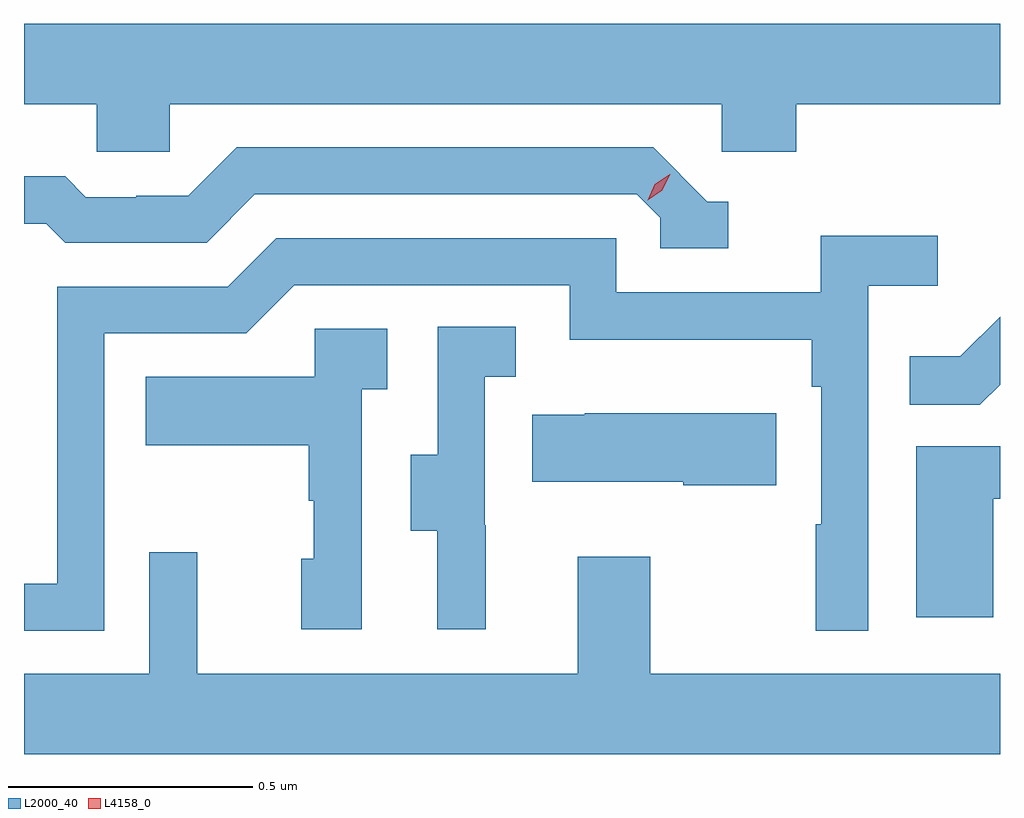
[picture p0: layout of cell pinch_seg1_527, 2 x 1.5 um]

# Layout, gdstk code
import gdstk
lib = gdstk.Library(unit=1e-6, precision=1e-09)
def P(c, l, *ps):  # polygons
    for p in ps: c.add(gdstk.Polygon(p, *l))
L2000_40 = (2000, 40)
L4158_0 = (4158, 0)

pinch_seg1_527 = lib.new_cell('pinch_seg1_527')
P(pinch_seg1_527, L2000_40, [(1029.615,525.092),(1030.746,525.092),(1030.746,524.994),(1030.898,524.994),(1030.898,525.092),(1031.316,525.092),(1031.316,525.256),(1029.316,525.256),(1029.316,525.092),(1029.465,525.092),(1029.465,524.994),(1029.615,524.994)],
  [(1030.759,524.892),(1030.716,524.892),(1030.605,525.003),(1029.752,525.003),(1029.653,524.904),(1029.546,524.904),(1029.546,524.901),(1029.443,524.901),(1029.401,524.944),(1029.316,524.944),(1029.316,524.847),(1029.362,524.847),(1029.401,524.808),(1029.69,524.808),(1029.789,524.907),(1030.572,524.907),(1030.62,524.859),(1030.62,524.796),(1030.759,524.796)],
  [(1029.48,524.622),(1029.771,524.622),(1029.87,524.721),(1030.434,524.721),(1030.434,524.609),(1030.93,524.609),(1030.93,524.513),(1030.95,524.513),(1030.95,524.231),(1030.938,524.231),(1030.938,524.013),(1031.046,524.013),(1031.046,524.72),(1031.188,524.72),(1031.188,524.822),(1030.949,524.822),(1030.949,524.706),(1030.53,524.706),(1030.53,524.817),(1029.833,524.817),(1029.734,524.718),(1029.384,524.718),(1029.384,524.109),(1029.316,524.109),(1029.316,524.013),(1029.48,524.013)],
  [(1031.316,524.517),(1031.316,524.656),(1031.235,524.575),(1031.131,524.575),(1031.131,524.476),(1031.275,524.476)],
  [(1030.262,524.229),(1030.26,524.229),(1030.26,524.533),(1030.324,524.533),(1030.324,524.636),(1030.164,524.636),(1030.164,524.373),(1030.109,524.373),(1030.109,524.218),(1030.163,524.218),(1030.163,524.016),(1030.262,524.016)],
  [(1030.008,524.507),(1030.06,524.507),(1030.06,524.631),(1029.912,524.631),(1029.912,524.533),(1029.565,524.533),(1029.565,524.393),(1029.9,524.393),(1029.9,524.279),(1029.91,524.279),(1029.91,524.16),(1029.884,524.16),(1029.884,524.016),(1030.008,524.016)],
  [(1030.858,524.458),(1030.465,524.458),(1030.465,524.455),(1030.357,524.455),(1030.357,524.318),(1030.667,524.318),(1030.667,524.311),(1030.858,524.311)],
  [(1031.302,524.283),(1031.316,524.283),(1031.316,524.391),(1031.144,524.391),(1031.144,524.04),(1031.302,524.04)],
  [(1031.316,523.924),(1030.599,523.924),(1030.599,524.164),(1030.451,524.164),(1030.451,523.924),(1029.671,523.924),(1029.671,524.173),(1029.573,524.173),(1029.573,523.924),(1029.316,523.924),(1029.316,523.76),(1031.316,523.76)])
P(pinch_seg1_527, L4158_0, [(1030.594,524.895),(1030.594,524.895),(1030.609,524.928),(1030.639,524.948),(1030.64,524.948),(1030.64,524.948),(1030.624,524.915),(1030.594,524.895)])

lib.write_gds('pinch_seg1_527.gds')
